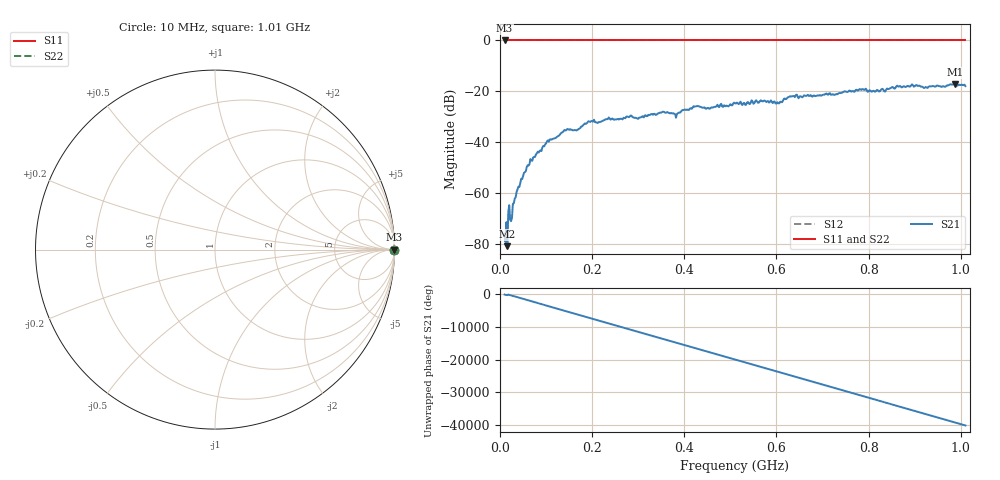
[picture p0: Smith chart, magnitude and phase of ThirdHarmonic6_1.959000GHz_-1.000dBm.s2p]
! 8/16/2025 11:34:57 PM
! C:\ANRITSUVNA\TEMP\TEMP.S2P
! CHANNEL.1
! TR.MEASUREMENT
! RAW.DATA
! RF.CORRECTION.OFF
! AVERAGING.OFF
! IF.BANDWIDTH: 5KHZ
! SWEEPTYPE:  FREQ.SWEEP(Linear)
! Reference Plane Port Info
! PORT:  PORT1  PORT2
! DISTANCE:  0  m  0  m
! TIME:  0  s  0  s
! PHASE.OFFSET:  0  deg.  0  deg.
! LOSS:  0  dB  0  dB
! REF.LOSS:  0  dB  0  dB
! REF.FREQ:  0  Hz  0  Hz
! Power Info
! POWER:  -20  dBm  -20  dBm
! EFF.POWER:  -20  dBm  -20  dBm
! SOURCE.ATTEN:  0  dB  0  dB
! TEST.ATTEN:  0  dB  0  dB
# GHZ S RI R 50.0
! FREQ.GHZ  S11RE  S11IM  S21RE  S21IM  S12RE  S12IM  S22RE  S22IM
!; PortSelection: Port_12
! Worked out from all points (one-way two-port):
!   501 points, 10 MHz to 1.01 GHz, reference 50 ohm
!   highest |S21| = -17.26 dB at 988 MHz (marker M1); lowest = -81.0 dB at 16 MHz (marker M2)
!   lowest |S11| = 0.0 dB at 10 MHz (marker M3)
!   |S11| at or under -10 dB: nowhere
!   |S22| runs from 0.0 to 0.0 dB; largest |S21 - S12| = 1.1
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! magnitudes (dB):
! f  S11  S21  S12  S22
! 10 MHz  0.0  -76.1  0.0  0.0
! 12 MHz  0.0  -79.3  0.0  0.0
! 16 MHz  0.0  -81.0  0.0  0.0
! 26 MHz  0.0  -69.8  0.0  0.0
! 32 MHz  0.0  -62.2  0.0  0.0
! 42 MHz  0.0  -57.7  0.0  0.0
! 70 MHz  0.0  -47.4  0.0  0.0
! 106 MHz  0.0  -39.8  0.0  0.0
! 142 MHz  0.0  -35.4  0.0  0.0
! 178 MHz  0.0  -33.8  0.0  0.0
! 196 MHz  0.0  -32.1  0.0  0.0
! 344 MHz  0.0  -28.7  0.0  0.0
! 382 MHz  0.0  -30.4  0.0  0.0
! 424 MHz  0.0  -26.0  0.0  0.0
! 452 MHz  0.0  -26.6  0.0  0.0
! 510 MHz  0.0  -24.7  0.0  0.0
! 602 MHz  0.0  -24.3  0.0  0.0
! 632 MHz  0.0  -22.1  0.0  0.0
! 678 MHz  0.0  -22.1  0.0  0.0
! 844 MHz  0.0  -19.1  0.0  0.0
! 988 MHz  0.0  -17.3  0.0  0.0
! 1.01 GHz  0.0  -18.0  0.0  0.0
